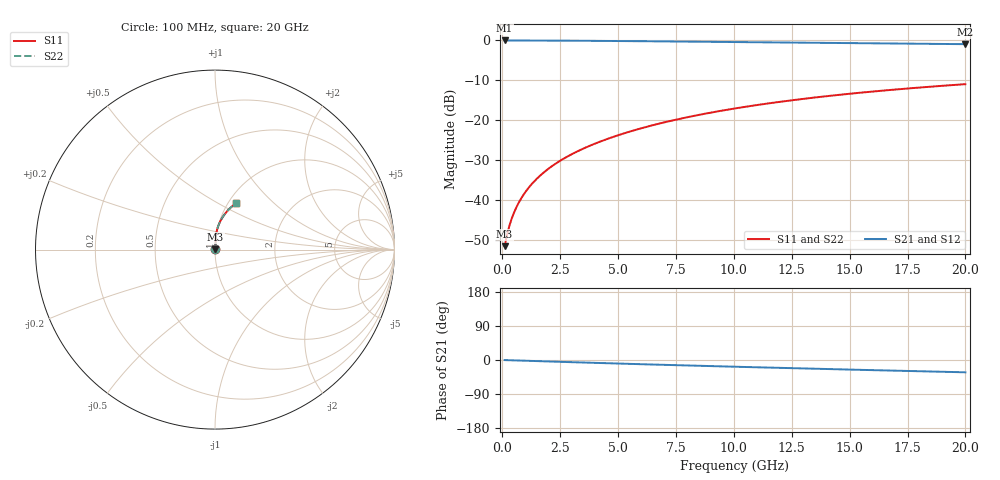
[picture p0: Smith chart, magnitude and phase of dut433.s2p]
! Touchstone file exported from HFSS 2024.1.0
!  File:  C:/UserFiles/LocalFiles/RDL_TSV_Batchsim/temp_RDL_bottom_433_1779684251.aedt
!  Generated:  12:46:46 PM May 25, 2026
!  Design:  RDL_bottom
!  Project:  temp_RDL_bottom_433_1779684251
!  Setup:  Setup1
!  Solution:  Sweep
! Variables:
!  dtsv = 10.80580581um
!  hbump = 3um
!  htsv = 55.1um
!  ldown = 483.35um
!  lrdl = 100um
!  p = 40
!  p1 = 44.18um
!  rhole = 1um
!  t = 450um
!  tdown = 3.64um
!  trdl = 3.915915916um
!  wdown = 22.89um
!  wrdl = 20um
# GHz S MA R 50.000000
! Terminal data exported
! Port[1] = RDL1_T1
! Port[2] = RDL1_T2
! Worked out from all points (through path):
!   200 points, 100 MHz to 20 GHz, reference 50 ohm
!   highest |S21| = -0.02 dB at 100 MHz (marker M1); lowest = -0.9 dB at 20 GHz (marker M2)
!   group delay of S21, straight-line fit = 4.46 ps
!   lowest |S11| = -51.5 dB at 100 MHz (marker M3), VSWR 1.01, Z = 50.2 + j0.142 ohm
!   |S11| at or under -10 dB: start of sweep to end of sweep
!   |S22| runs from -51.5 to -11.0 dB; largest |S21 - S12| = 2.7e-15
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0.1  0.002674 32.0  0.9977 -0.2  0.9977 -0.2  0.002674 32.0
! Gamma 0 0 0 0
! Port Impedance 50 0 50 0
0.2  0.003649 48.9  0.9976 -0.4  0.9976 -0.4  0.003649 48.9
0.3  0.004737 57.8  0.9974 -0.6  0.9974 -0.6  0.004737 57.8
0.4  0.005842 63.3  0.9972 -0.8  0.9972 -0.8  0.005842 63.3
0.5  0.006958 67.3  0.9971 -1.0  0.9971 -1.0  0.006958 67.3
0.6  0.008087 70.3  0.997 -1.2  0.997 -1.2  0.008087 70.3
0.8  0.01039 74.5  0.9967 -1.6  0.9967 -1.6  0.01039 74.5
1.1  0.01392 78.5  0.9962 -2.1  0.9962 -2.1  0.01392 78.5
1.3  0.01632 80.2  0.9959 -2.5  0.9959 -2.5  0.01632 80.2
1.6  0.01998 82.1  0.9952 -3.1  0.9952 -3.1  0.01998 82.1
2.1  0.02619 84.1  0.9939 -4.1  0.9939 -4.1  0.02619 84.1
2.7  0.03384 85.5  0.992 -5.2  0.992 -5.2  0.03384 85.5
3.5  0.04437 86.5  0.9889 -6.7  0.9889 -6.7  0.04436 86.4
4.2  0.0539 86.8  0.9858 -8.0  0.9858 -8.0  0.05388 86.7
5  0.06512 86.7  0.9818 -9.4  0.9818 -9.4  0.06509 86.7
6.8  0.09146 85.6  0.972 -12.5  0.972 -12.5  0.09141 85.5
8.4  0.1157 83.7  0.9628 -15.1  0.9628 -15.1  0.1156 83.7
10.1  0.1417 81.3  0.953 -17.8  0.953 -17.8  0.1416 81.3
11.7  0.1662 78.9  0.9437 -20.3  0.9437 -20.3  0.166 78.8
13.4  0.1917 76.1  0.934 -22.9  0.934 -22.9  0.1915 76.1
16.7  0.2392 70.8  0.9153 -27.8  0.9153 -27.8  0.239 70.7
20  0.2834 65.6  0.8965 -32.5  0.8965 -32.5  0.2832 65.5
